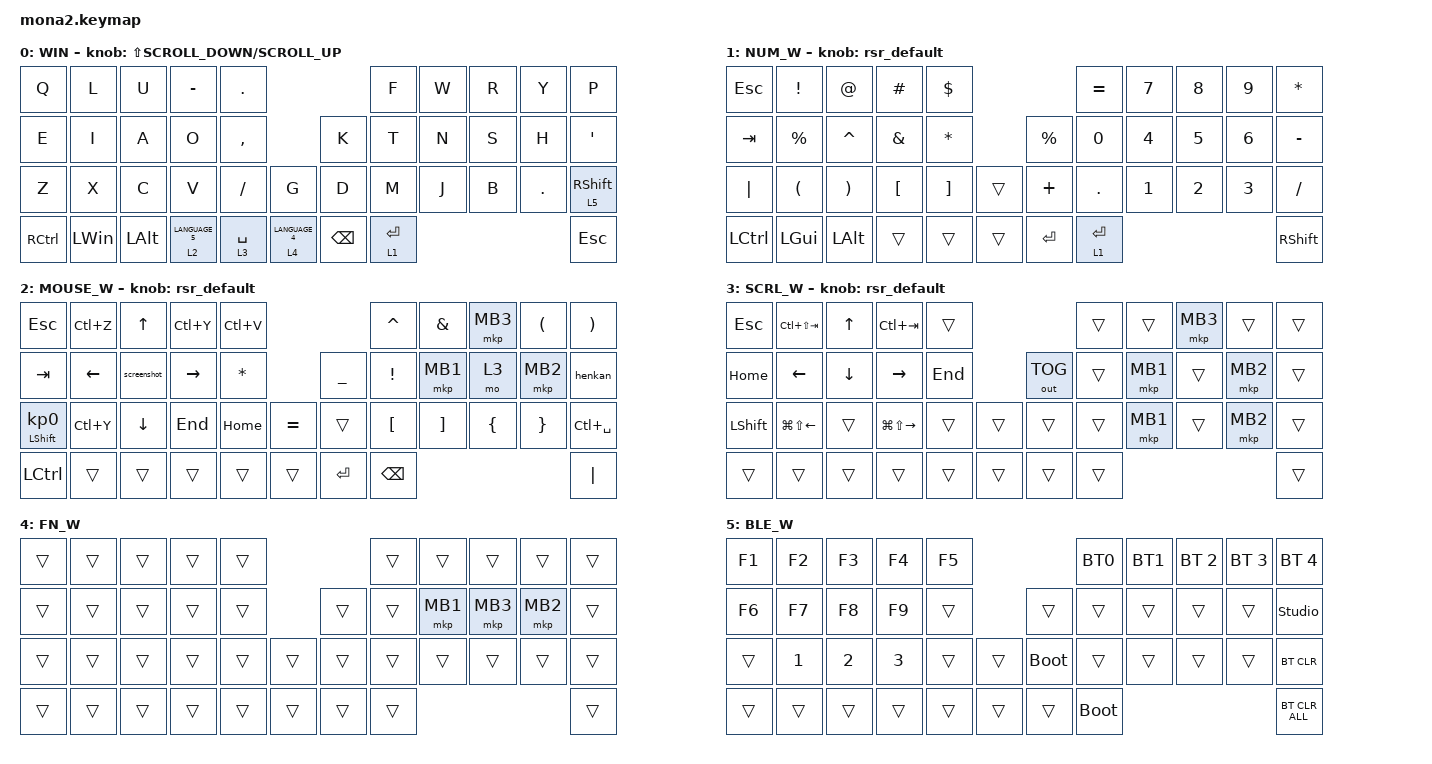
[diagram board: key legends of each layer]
#include <input/processors.dtsi>
#include <dt-bindings/zmk/input_transform.h>
#include <zephyr/dt-bindings/input/input-event-codes.h>
#include <behaviors/runtime-sensor-rotate.dtsi>
#include <behaviors.dtsi>
#include <dt-bindings/zmk/bt.h>
#include <dt-bindings/zmk/keys.h>
#include <dt-bindings/zmk/outputs.h>
#include <dt-bindings/zmk/pointing.h>

/* ZMK 側で 10 が定義済みなので警告回避のため一旦 undef */

#undef ZMK_POINTING_DEFAULT_SCRL_VAL

#define ZMK_POINTING_DEFAULT_SCRL_VAL 100

&mt {
    flavor = "balanced";
    quick-tap-ms = <0>;
};

&lt {
    quick-tap-ms = <200>;
    flavor = "balanced";
};

&msc {
    delay-ms = <0>;
    time-to-max-speed-ms = <0>;
    acceleration-exponent = <0>;
};

/ {
    combos {
        compatible = "zmk,combos";

        layer4_ESC {
            bindings = <&lt 2 ESC>;
            key-positions = <39 38>;
        };

        tab {
            bindings = <&kp TAB>;
            key-positions = <11 12>;
        };
    };

    macros {
        to_layer_0: to_layer_0 {
            compatible = "zmk,behavior-macro-one-param";
            #binding-cells = <1>;
            bindings = <&to 0 &macro_param_1to1 &kp MACRO_PLACEHOLDER>;
            label = "TO_LAYER_0";
        };

        BT0: BT0 {
            compatible = "zmk,behavior-macro";
            #binding-cells = <0>;
            bindings =
                <&tog_off 0 &tog_off 0>,
                <&macro_wait_time 200>,
                <&bt BT_SEL 0>,
                <&macro_wait_time 500>,
                <&tog_on 0>;

            label = "BT0";
        };

        BT1: BT1 {
            compatible = "zmk,behavior-macro";
            #binding-cells = <0>;
            bindings =
                <&tog_off 0 &tog_off 0>,
                <&macro_wait_time 200>,
                <&bt BT_SEL 1>,
                <&macro_wait_time 500>,
                <&tog_on 0>;

            label = "BT1";
        };

        screenshot: screenshot {
            compatible = "zmk,behavior-macro";
            #binding-cells = <0>;
            bindings =
                <&macro_press>,
                <&kp LEFT_GUI &kp RSHIFT>,
                <&macro_wait_time 20>,
                <&macro_tap>,
                <&kp S>,
                <&macro_release>,
                <&kp LEFT_GUI &kp RSHIFT>;

            label = "SCREENSHOT";
        };

        henkan: henkan {
            compatible = "zmk,behavior-macro";
            #binding-cells = <0>;
            bindings =
                <&macro_press>,
                <&kp LEFT_ALT>,
                <&macro_wait_time 20>,
                <&macro_tap>,
                <&kp GRAVE>,
                <&macro_release>,
                <&kp LEFT_ALT>;

            label = "HENKAN";
        };
    };

    behaviors {
        lt_to_layer_0: lt_to_layer_0 {
            compatible = "zmk,behavior-hold-tap";
            label = "LAYER_TAP_TO_0";
            bindings = <&mo>, <&to_layer_0>;

            #binding-cells = <2>;
            tapping-term-ms = <200>;
        };

        tp_repeat_mo1: tp_repeat_mo1 {
            compatible = "zmk,behavior-hold-tap";
            label = "TP_REPEAT_MO1";
            bindings = <&mo>, <&key_repeat>;

            #binding-cells = <2>;
            tapping-term-ms = <200>;
        };

        // エンコーダ用 runtime-configurable sensor rotate
        // デフォルトはスクロール (cw=SCRL_DOWN, ccw=SCRL_UP)
        // DYA Studio Web UI から レイヤーごとに cw/ccw の binding を
        // kp C_VOL_UP/DN や kp LEFT/RIGHT などへ動的変更可能

        rsr_default: rsr_default {
            compatible = "zmk,behavior-runtime-sensor-rotate";
            #sensor-binding-cells = <0>;
            tap-ms = <16>;
            cw-binding = <&msc SCRL_DOWN>;
            ccw-binding = <&msc SCRL_UP>;
        };

        tog_on: toggle_layer_on_only {
            compatible = "zmk,behavior-toggle-layer";
            #binding-cells = <1>;
            display-name = "Toggle Layer On";
            toggle-mode = "on";
        };

        tog_off: toggle_layer_off_only {
            compatible = "zmk,behavior-toggle-layer";
            #binding-cells = <1>;
            display-name = "Toggle Layer Off";
            toggle-mode = "off";
        };

        zfold: zfold {
            compatible = "zmk,behavior-hold-tap";
            label = "ZFOLD";
            bindings = <&kp>, <&kp>;

            #binding-cells = <2>;
            tapping-term-ms = <300>;
            flavor = "hold-preferred";
            quick-tap-ms = <150>;
            hold-while-undecided;
        };

        zfoldZ: zfoldZ {
            compatible = "zmk,behavior-tap-dance";
            label = "ZFOLDZ";
            #binding-cells = <0>;
            bindings = <&zfold LEFT_SHIFT Z>, <&kp LS(Z)>;
        };
    };

    keymap {
        compatible = "zmk,keymap";

        win_layer {
            display-name = "WIN";
            bindings = <
&kp Q      &kp L         &kp U         &kp MINUS         &kp PERIOD                                      &kp F        &kp W  &kp R  &kp Y    &kp P
&kp E      &kp I         &kp A         &kp O             &kp COMMA                        &kp K          &kp T        &kp N  &kp S  &kp H    &kp SQT
&kp Z      &kp X         &kp C         &kp V             &kp SLASH    &kp G               &kp D          &kp M        &kp J  &kp B  &kp DOT  &lt 5 RIGHT_SHIFT
&kp RCTRL  &kp LEFT_WIN  &kp LEFT_ALT  &lt 2 LANGUAGE_5  &lt 3 SPACE  &lt 4 LANGUAGE_4    &kp BACKSPACE  &lt 1 ENTER                         &kp ESCAPE
            >;

            sensor-bindings = <&inc_dec_kp LS(K_SCROLL_DOWN) K_SCROLL_UP>;
        };

        num_win {
            display-name = "NUM_W";
            bindings = <
&kp ESCAPE  &kp EXCLAMATION       &kp AT_SIGN            &kp HASH          &kp DOLLAR                                &kp EQUAL     &kp NUMBER_7  &kp NUMBER_8  &kp NUMBER_9  &kp ASTERISK
&kp TAB     &kp PERCENT           &kp CARET              &kp AMPERSAND     &kp ASTERISK                 &kp PERCENT  &kp NUMBER_0  &kp NUMBER_4  &kp NUMBER_5  &kp NUMBER_6  &kp MINUS
&kp PIPE    &kp LEFT_PARENTHESIS  &kp RIGHT_PARENTHESIS  &kp LEFT_BRACKET  &kp RIGHT_BRACKET  &trans    &kp PLUS     &kp DOT       &kp NUMBER_1  &kp NUMBER_2  &kp NUMBER_3  &kp SLASH
&kp LCTRL   &kp LEFT_GUI          &kp LEFT_ALT           &trans            &trans             &trans    &kp ENTER    &lt 1 ENTER                                             &kp RIGHT_SHIFT
            >;

            sensor-bindings = <&rsr_default>;
        };

        mouse_win {
            display-name = "MOUSE_W";
            bindings = <
&kp ESCAPE                  &kp LC(Z)       &kp UP_ARROW    &kp LC(Y)        &kp LC(V)                                  &kp CARET         &kp AMPERSAND      &mkp MB3        &kp LEFT_PARENTHESIS  &kp RIGHT_PARENTHESIS
&kp TAB                     &kp LEFT_ARROW  &screenshot     &kp RIGHT_ARROW  &kp ASTERISK               &kp UNDERSCORE  &kp EXCLAMATION   &mkp MB1           &mo 3           &mkp MB2              &henkan
&mt LEFT_SHIFT KP_NUMBER_0  &kp LC(Y)       &kp DOWN_ARROW  &kp END          &kp HOME      &kp EQUAL    &trans          &kp LEFT_BRACKET  &kp RIGHT_BRACKET  &kp LEFT_BRACE  &kp RIGHT_BRACE       &kp LC(SPACE)
&kp LCTRL                   &trans          &trans          &trans           &trans        &trans       &kp ENTER       &kp BACKSPACE                                                              &kp PIPE
            >;

            sensor-bindings = <&rsr_default>;
        };

        scroll_win {
            display-name = "SCRL_W";
            bindings = <
&kp ESCAPE      &kp LC(LS(TAB))         &kp UP_ARROW    &kp LC(TAB)              &trans                           &trans  &trans    &mkp MB3  &trans    &trans
&kp HOME        &kp LEFT_ARROW          &kp DOWN_ARROW  &kp RIGHT_ARROW          &kp END            &out OUT_TOG  &trans  &mkp MB1  &trans    &mkp MB2  &trans
&kp LEFT_SHIFT  &kp LG(LS(LEFT_ARROW))  &trans          &kp LG(LS(RIGHT_ARROW))  &trans   &trans    &trans        &trans  &mkp MB1  &trans    &mkp MB2  &trans
&trans          &trans                  &trans          &trans                   &trans   &trans    &trans        &trans                                &trans
            >;

            sensor-bindings = <&rsr_default>;
        };

        function_win {
            display-name = "FN_W";
            bindings = <
&trans  &trans  &trans  &trans  &trans                    &trans  &trans    &trans    &trans    &trans
&trans  &trans  &trans  &trans  &trans            &trans  &trans  &mkp MB1  &mkp MB3  &mkp MB2  &trans
&trans  &trans  &trans  &trans  &trans  &trans    &trans  &trans  &trans    &trans    &trans    &trans
&trans  &trans  &trans  &trans  &trans  &trans    &trans  &trans                                &trans
            >;
        };

        ble_win {
            display-name = "BLE_W";
            bindings = <
&kp F1  &kp F2        &kp F3        &kp F4        &kp F5                         &BT0         &BT1    &bt BT_SEL 2  &bt BT_SEL 3  &bt BT_SEL 4
&kp F6  &kp F7        &kp F8        &kp F9        &trans            &trans       &trans       &trans  &trans        &trans        &studio_unlock
&trans  &kp NUMBER_1  &kp NUMBER_2  &kp NUMBER_3  &trans  &trans    &bootloader  &trans       &trans  &trans        &trans        &bt BT_CLR
&trans  &trans        &trans        &trans        &trans  &trans    &trans       &bootloader                                      &bt BT_CLR_ALL
            >;
        };
    };
};
